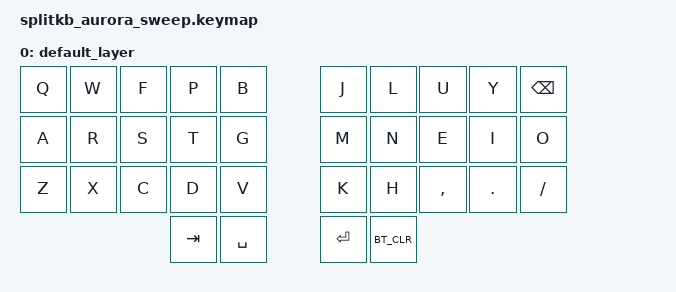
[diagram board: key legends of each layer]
/*
 * Copyright (c) 2020 The ZMK Contributors
 *
 * SPDX-License-Identifier: MIT
 */

#include <behaviors.dtsi>
#include <dt-bindings/zmk/keys.h>
#include <dt-bindings/zmk/bt.h>

#define DEF 0



// Using layer taps on thumbs, having quick tap as well helps w/ repeating space/backspace
&lt { quick_tap_ms = <200>; };

/ {
  keymap {
    compatible = "zmk,keymap";
    default_layer {
      bindings = <
                &kp Q     &kp W     &kp F     &kp P     &kp B       &kp J     &kp L     &kp U     &kp Y     &kp BSPC
                &kp A     &kp R     &kp S     &kp T     &kp G       &kp M     &kp N     &kp E     &kp I     &kp O
                &kp Z     &kp X     &kp C     &kp D     &kp V       &kp K     &kp H     &kp COMMA &kp DOT   &kp FSLH
                                              &kp TAB   &kp SPACE   &kp RETURN &kp BT_CLR
                                              >;
    };
  };
};
